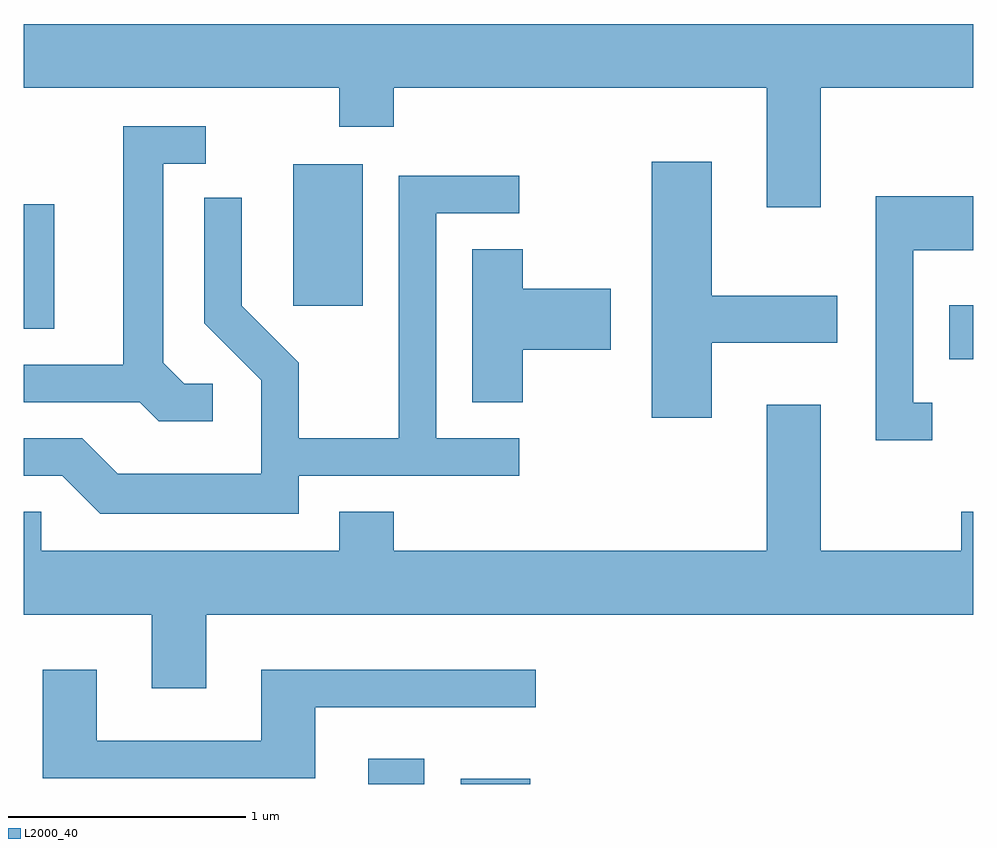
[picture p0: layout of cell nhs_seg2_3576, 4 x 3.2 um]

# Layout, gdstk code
import gdstk
lib = gdstk.Library(unit=1e-6, precision=1e-09)
def R(c, l, rs):  # rectangles x0, y0, x1, y1
    for r in rs: c.add(gdstk.rectangle(r[:2], r[2:], *l))
def P(c, l, *ps):  # polygons
    for p in ps: c.add(gdstk.Polygon(p, *l))
L2000_40 = (2000, 40)

nhs_seg2_3576 = lib.new_cell('nhs_seg2_3576')
R(nhs_seg2_3576, L2000_40, [(291.063,1069.802,291.299,1069.909), (291.451,1069.802,291.744,1069.824), (293.511,1071.591,293.611,1071.819), (289.611,1071.721,289.739,1072.244), (290.746,1071.816,291.039,1072.414)])
P(nhs_seg2_3576, L2000_40, [(292.969,1072.736),(293.611,1072.736),(293.611,1073.004),(289.611,1073.004),(289.611,1072.736),(290.941,1072.736),(290.941,1072.571),(291.169,1072.571),(291.169,1072.736),(292.741,1072.736),(292.741,1072.231),(292.969,1072.231)],
  [(290.408,1071.489),(290.287,1071.489),(290.199,1071.577),(290.199,1072.416),(290.378,1072.416),(290.378,1072.574),(290.031,1072.574),(290.031,1071.569),(289.611,1071.569),(289.611,1071.411),(290.099,1071.411),(290.179,1071.331),(290.408,1071.331)],
  [(292.509,1071.661),(293.039,1071.661),(293.039,1071.859),(292.509,1071.859),(292.509,1072.424),(292.256,1072.424),(292.256,1071.346),(292.509,1071.346)],
  [(290.769,1071.101),(291.698,1071.101),(291.698,1071.259),(291.349,1071.259),(291.349,1072.206),(291.698,1072.206),(291.698,1072.364),(291.191,1072.364),(291.191,1071.259),(290.769,1071.259),(290.769,1071.577),(290.529,1071.817),(290.529,1072.273),(290.371,1072.273),(290.371,1071.744),(290.611,1071.504),(290.611,1071.109),(290.007,1071.109),(289.857,1071.259),(289.611,1071.259),(289.611,1071.101),(289.774,1071.101),(289.934,1070.941),(290.769,1070.941)],
  [(293.438,1071.409),(293.359,1071.409),(293.359,1072.051),(293.611,1072.051),(293.611,1072.279),(293.201,1072.279),(293.201,1071.251),(293.438,1071.251)],
  [(291.714,1071.631),(292.084,1071.631),(292.084,1071.889),(291.714,1071.889),(291.714,1072.054),(291.501,1072.054),(291.501,1071.411),(291.714,1071.411)],
  [(290.379,1070.516),(293.611,1070.516),(293.611,1070.949),(293.561,1070.949),(293.561,1070.784),(292.969,1070.784),(292.969,1071.399),(292.741,1071.399),(292.741,1070.784),(291.169,1070.784),(291.169,1070.949),(290.941,1070.949),(290.941,1070.784),(289.684,1070.784),(289.684,1070.949),(289.611,1070.949),(289.611,1070.516),(290.151,1070.516),(290.151,1070.206),(290.379,1070.206)],
  [(290.839,1070.126),(291.768,1070.126),(291.768,1070.284),(290.611,1070.284),(290.611,1069.984),(289.919,1069.984),(289.919,1070.284),(289.691,1070.284),(289.691,1069.826),(290.839,1069.826)])

lib.write_gds('nhs_seg2_3576.gds')
